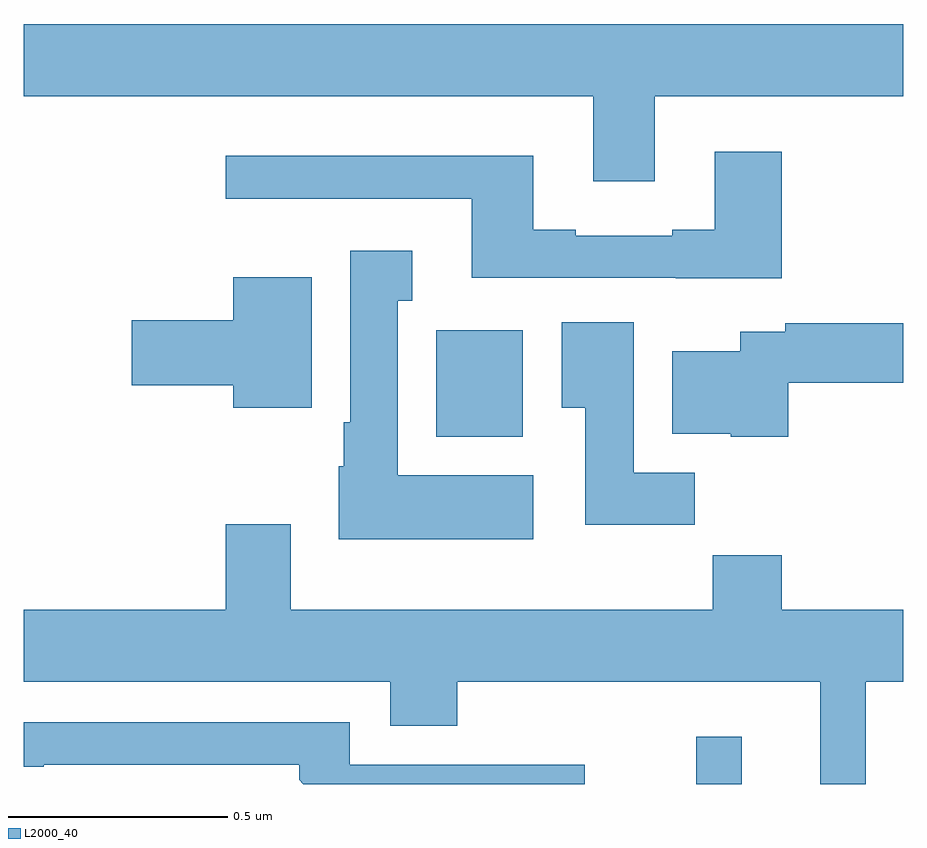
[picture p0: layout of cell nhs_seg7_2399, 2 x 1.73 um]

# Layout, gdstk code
import gdstk
lib = gdstk.Library(unit=1e-6, precision=1e-09)
def R(c, l, rs):  # rectangles x0, y0, x1, y1
    for r in rs: c.add(gdstk.rectangle(r[:2], r[2:], *l))
def P(c, l, *ps):  # polygons
    for p in ps: c.add(gdstk.Polygon(p, *l))
L2000_40 = (2000, 40)

nhs_seg7_2399 = lib.new_cell('nhs_seg7_2399')
R(nhs_seg7_2399, L2000_40, [(145.529,1051,145.633,1051.108), (144.938,1051.79,145.135,1052.032)])
P(nhs_seg7_2399, L2000_40, [(144,1052.564),(145.295,1052.564),(145.295,1052.37),(145.435,1052.37),(145.435,1052.564),(146,1052.564),(146,1052.728),(144,1052.728)],
  [(145.724,1052.437),(145.571,1052.437),(145.571,1052.26),(145.475,1052.26),(145.475,1052.247),(145.255,1052.247),(145.255,1052.26),(145.159,1052.26),(145.159,1052.428),(144.459,1052.428),(144.459,1052.331),(145.019,1052.331),(145.019,1052.151),(145.483,1052.151),(145.483,1052.15),(145.724,1052.15)],
  [(145.159,1051.702),(144.85,1051.702),(144.85,1052.099),(144.883,1052.099),(144.883,1052.212),(144.743,1052.212),(144.743,1051.822),(144.728,1051.822),(144.728,1051.722),(144.716,1051.722),(144.716,1051.556),(145.159,1051.556)],
  [(144.655,1052.152),(144.476,1052.152),(144.476,1052.054),(144.246,1052.054),(144.246,1051.907),(144.476,1051.907),(144.476,1051.856),(144.655,1051.856)],
  [(145.526,1051.708),(145.387,1051.708),(145.387,1052.05),(145.223,1052.05),(145.223,1051.856),(145.277,1051.856),(145.277,1051.59),(145.526,1051.59)],
  [(145.738,1051.912),(146,1051.912),(146,1052.048),(145.732,1052.048),(145.732,1052.028),(145.629,1052.028),(145.629,1051.984),(145.475,1051.984),(145.475,1051.796),(145.608,1051.796),(145.608,1051.79),(145.738,1051.79)],
  [(144.607,1051.591),(144.46,1051.591),(144.46,1051.396),(144,1051.396),(144,1051.232),(144.833,1051.232),(144.833,1051.133),(144.986,1051.133),(144.986,1051.232),(145.811,1051.232),(145.811,1051),(145.915,1051),(145.915,1051.232),(146,1051.232),(146,1051.396),(145.724,1051.396),(145.724,1051.52),(145.567,1051.52),(145.567,1051.396),(144.607,1051.396)],
  [(145.276,1051.044),(144.741,1051.044),(144.741,1051.14),(144,1051.14),(144,1051.039),(144.046,1051.039),(144.046,1051.044),(144.626,1051.044),(144.626,1051.01),(144.636,1051),(145.276,1051)])

lib.write_gds('nhs_seg7_2399.gds')
